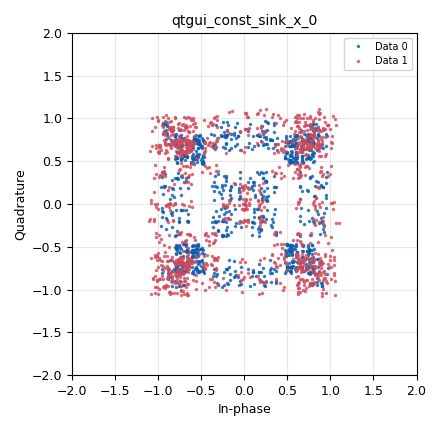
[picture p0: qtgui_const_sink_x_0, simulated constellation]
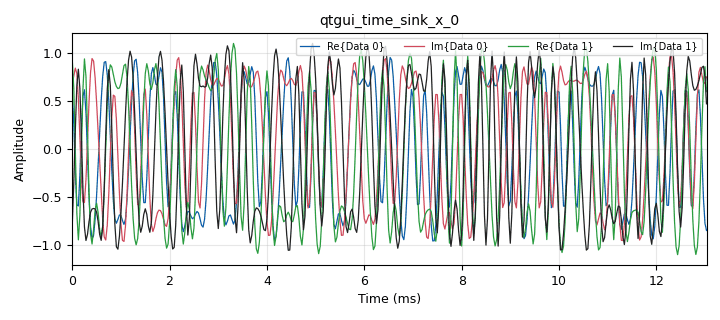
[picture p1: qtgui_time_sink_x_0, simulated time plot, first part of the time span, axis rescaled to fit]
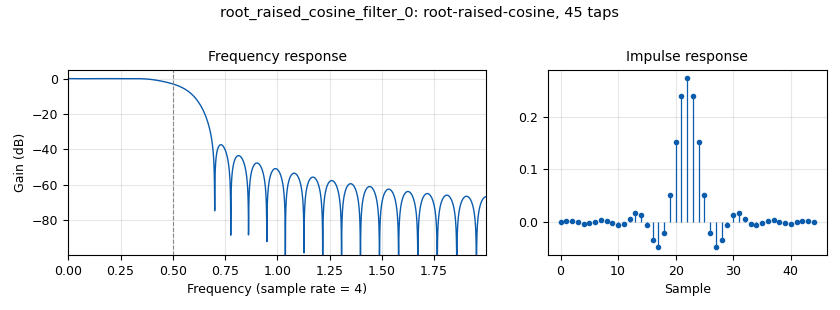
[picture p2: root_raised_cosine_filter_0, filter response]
<?xml version='1.0' encoding='utf-8'?>
<?grc format='1' created='3.7.10'?>
<flow_graph>
<block>
<key>options</key>
<param><key>id</key><value>Chunk_to_Symbols_vs_Constel_Mod</value></param>
<param><key>generate_options</key><value>qt_gui</value></param>
<param><key>title</key><value>Chunk-to-Symbols vs Constel Mod</value></param>
</block>
<block>
<key>variable_constellation</key>
<param><key>id</key><value>Const_PLD</value></param>
<param><key>const_points</key><value>digital.psk_4()[0]</value></param>
<param><key>type</key><value>calcdist</value></param>
<param><key>dims</key><value>1</value></param>
<param><key>rot_sym</key><value>4</value></param>
<param><key>soft_dec_lut</key><value>'auto'</value></param>
<param><key>precision</key><value>8</value></param>
<param><key>sym_map</key><value>digital.psk_4()[1]</value></param>
</block>
<block>
<key>variable</key>
<param><key>id</key><value>samp_rate</value></param>
<param><key>value</key><value>32000</value></param>
</block>
<block>
<key>analog_random_source_x</key>
<param><key>id</key><value>analog_random_source_x_0</value></param>
<param><key>max</key><value>256</value></param>
<param><key>min</key><value>0</value></param>
<param><key>num_samps</key><value>10000</value></param>
<param><key>type</key><value>byte</value></param>
<param><key>repeat</key><value>True</value></param>
</block>
<block>
<key>blocks_repack_bits_bb</key>
<param><key>id</key><value>blocks_repack_bits_bb_0</value></param>
<param><key>k</key><value>8</value></param>
<param><key>l</key><value>Const_PLD.bits_per_symbol()</value></param>
<param><key>endianness</key><value>gr.GR_LSB_FIRST</value></param>
</block>
<block>
<key>blocks_repeat</key>
<param><key>id</key><value>blocks_repeat_0</value></param>
<param><key>interp</key><value>4</value></param>
<param><key>type</key><value>complex</value></param>
</block>
<block>
<key>blocks_throttle</key>
<param><key>id</key><value>blocks_throttle_0</value></param>
<param><key>samples_per_second</key><value>samp_rate</value></param>
<param><key>type</key><value>complex</value></param>
</block>
<block>
<key>digital_chunks_to_symbols_xx</key>
<param><key>id</key><value>digital_chunks_to_symbols_xx_0</value></param>
<param><key>dimension</key><value>1</value></param>
<param><key>in_type</key><value>byte</value></param>
<param><key>out_type</key><value>complex</value></param>
<param><key>symbol_table</key><value>Const_PLD.points()</value></param>
</block>
<block>
<key>digital_constellation_modulator</key>
<param><key>id</key><value>digital_constellation_modulator_0</value></param>
<param><key>constellation</key><value>Const_PLD</value></param>
<param><key>differential</key><value>True</value></param>
<param><key>excess_bw</key><value>0.35</value></param>
<param><key>samples_per_symbol</key><value>4</value></param>
</block>
<block>
<key>digital_map_bb</key>
<param><key>id</key><value>digital_map_bb_0</value></param>
<param><key>map</key><value>Const_PLD.pre_diff_code()</value></param>
</block>
<block>
<key>qtgui_const_sink_x</key>
<param><key>id</key><value>qtgui_const_sink_x_0</value></param>
<param><key>nconnections</key><value>2</value></param>
<param><key>size</key><value>1024</value></param>
<param><key>type</key><value>complex</value></param>
</block>
<block>
<key>qtgui_time_sink_x</key>
<param><key>id</key><value>qtgui_time_sink_x_0</value></param>
<param><key>color1</key><value>"blue"</value></param>
<param><key>label1</key><value></value></param>
<param><key>color2</key><value>"red"</value></param>
<param><key>label2</key><value></value></param>
<param><key>color3</key><value>"green"</value></param>
<param><key>label3</key><value></value></param>
<param><key>color4</key><value>"black"</value></param>
<param><key>label4</key><value></value></param>
<param><key>nconnections</key><value>2</value></param>
<param><key>size</key><value>1024</value></param>
<param><key>srate</key><value>samp_rate</value></param>
<param><key>type</key><value>complex</value></param>
</block>
<block>
<key>root_raised_cosine_filter</key>
<param><key>id</key><value>root_raised_cosine_filter_0</value></param>
<param><key>alpha</key><value>0.35</value></param>
<param><key>decim</key><value>1</value></param>
<param><key>type</key><value>fir_filter_ccf</value></param>
<param><key>gain</key><value>1</value></param>
<param><key>ntaps</key><value>11*4</value></param>
<param><key>samp_rate</key><value>4.0</value></param>
<param><key>sym_rate</key><value>1.0</value></param>
</block>
<connection><source_block_id>analog_random_source_x_0</source_block_id><sink_block_id>blocks_repack_bits_bb_0</sink_block_id><source_key>0</source_key><sink_key>0</sink_key></connection>
<connection><source_block_id>analog_random_source_x_0</source_block_id><sink_block_id>digital_constellation_modulator_0</sink_block_id><source_key>0</source_key><sink_key>0</sink_key></connection>
<connection><source_block_id>blocks_repack_bits_bb_0</source_block_id><sink_block_id>digital_map_bb_0</sink_block_id><source_key>0</source_key><sink_key>0</sink_key></connection>
<connection><source_block_id>blocks_repeat_0</source_block_id><sink_block_id>root_raised_cosine_filter_0</sink_block_id><source_key>0</source_key><sink_key>0</sink_key></connection>
<connection><source_block_id>blocks_throttle_0</source_block_id><sink_block_id>qtgui_const_sink_x_0</sink_block_id><source_key>0</source_key><sink_key>0</sink_key></connection>
<connection><source_block_id>blocks_throttle_0</source_block_id><sink_block_id>qtgui_time_sink_x_0</sink_block_id><source_key>0</source_key><sink_key>0</sink_key></connection>
<connection><source_block_id>digital_chunks_to_symbols_xx_0</source_block_id><sink_block_id>blocks_repeat_0</sink_block_id><source_key>0</source_key><sink_key>0</sink_key></connection>
<connection><source_block_id>digital_constellation_modulator_0</source_block_id><sink_block_id>qtgui_const_sink_x_0</sink_block_id><source_key>0</source_key><sink_key>1</sink_key></connection>
<connection><source_block_id>digital_constellation_modulator_0</source_block_id><sink_block_id>qtgui_time_sink_x_0</sink_block_id><source_key>0</source_key><sink_key>1</sink_key></connection>
<connection><source_block_id>digital_map_bb_0</source_block_id><sink_block_id>digital_chunks_to_symbols_xx_0</sink_block_id><source_key>0</source_key><sink_key>0</sink_key></connection>
<connection><source_block_id>root_raised_cosine_filter_0</source_block_id><sink_block_id>blocks_throttle_0</sink_block_id><source_key>0</source_key><sink_key>0</sink_key></connection>
</flow_graph>
